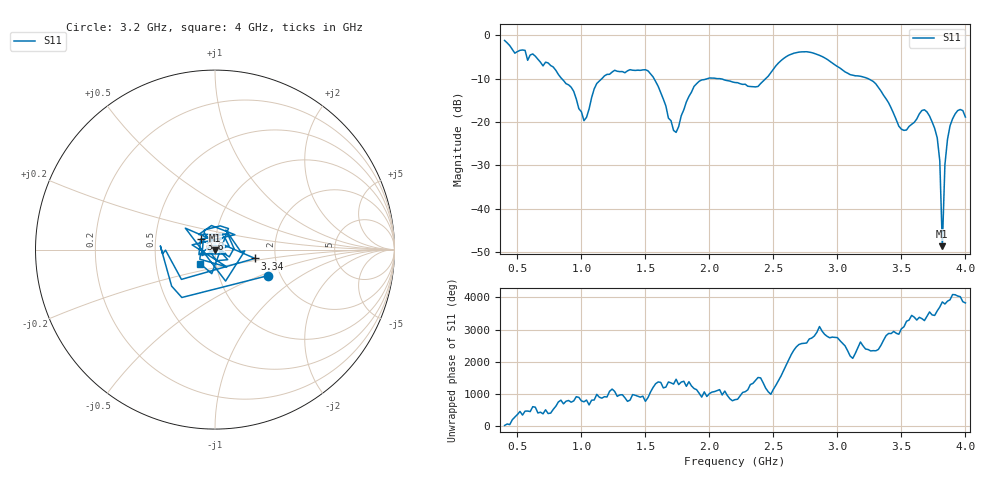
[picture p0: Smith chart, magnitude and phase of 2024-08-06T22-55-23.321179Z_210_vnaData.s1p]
!Created with skrf (http://scikit-rf.org).
# Hz S RI R 50.0
!freq ReS11 ImS11
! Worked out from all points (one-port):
!   181 points, 400 MHz to 4 GHz, reference 50 ohm
!   lowest |S11| = -48.7 dB at 3.82 GHz (marker M1), VSWR 1.01, Z = 49.9 - j0.355 ohm
!   |S11| at or under -10 dB: 1.567 GHz to 1.986 GHz (418.6 MHz wide, 23.6 % of centre); 2.059 GHz to 2.441 GHz (381.9 MHz wide, 17 % of centre); 3.239 GHz to end of sweep (the widest 3 of 4)
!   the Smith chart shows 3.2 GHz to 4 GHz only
!   S11 on the Smith chart (normalised r, x): 3.2 GHz: 1.73, -0.56; 3.34 GHz: 1.56, -0.16; 3.6 GHz: 0.85, +0.10; 4 GHz: 0.84, -0.13
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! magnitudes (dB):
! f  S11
! 400 MHz  -1.2
! 860 MHz  -10.4
! 940 MHz  -12.9
! 1.02 GHz  -19.7
! 1.12 GHz  -11.1
! 1.3 GHz  -8.4
! 1.52 GHz  -8.2
! 1.6 GHz  -11.8
! 1.72 GHz  -22.0
! 1.76 GHz  -21.1
! 1.92 GHz  -10.6
! 2.2 GHz  -10.9
! 2.38 GHz  -11.8
! 2.66 GHz  -4.1
! 3.1 GHz  -9.1
! 3.2 GHz  -9.6
! 3.34 GHz  -12.8
! 3.48 GHz  -21.0
! 3.56 GHz  -21.0
! 3.6 GHz  -20.1
! 3.68 GHz  -17.2
! 3.78 GHz  -23.7
! 3.8 GHz  -29.0
! 3.82 GHz  -48.7
! 3.84 GHz  -29.9
! 3.86 GHz  -24.1
! 3.94 GHz  -17.4
! 4 GHz  -18.9
